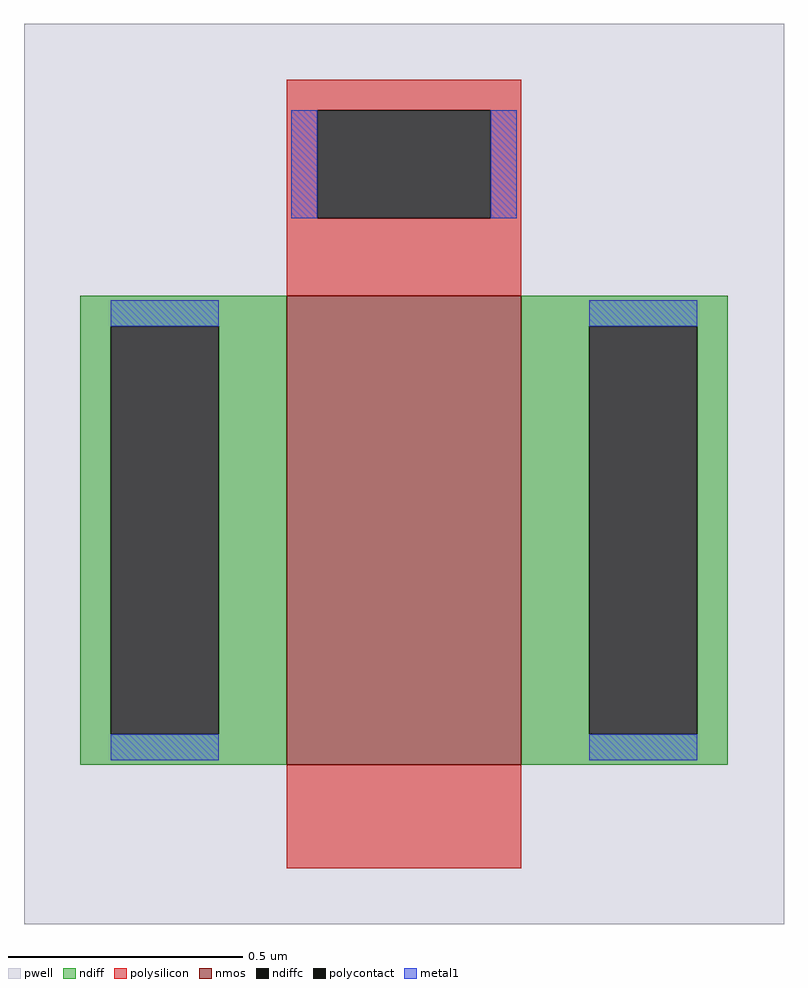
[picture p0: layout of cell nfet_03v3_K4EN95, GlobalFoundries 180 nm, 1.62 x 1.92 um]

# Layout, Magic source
magic
tech gf180mcuD
magscale 1 10
<< pwell >>
rect -162 -192 162 192
<< nmos >>
rect -50 -124 50 76
<< ndiff >>
rect -138 63 -50 76
rect -138 -111 -125 63
rect -79 -111 -50 63
rect -138 -124 -50 -111
rect 50 63 138 76
rect 50 -111 79 63
rect 125 -111 138 63
rect 50 -124 138 -111
<< ndiffc >>
rect -125 -111 -79 63
rect 79 -111 125 63
<< polysilicon >>
rect -50 155 50 168
rect -50 109 -37 155
rect 37 109 50 155
rect -50 76 50 109
rect -50 -168 50 -124
<< polycontact >>
rect -37 109 37 155
<< metal1 >>
rect -48 109 -37 155
rect 37 109 48 155
rect -125 63 -79 74
rect -125 -122 -79 -111
rect 79 63 125 74
rect 79 -122 125 -111
<< properties >>
string gencell nfet_03v3
string library gf180mcu
string parameters w 1 l 0.5 m 1 nf 1 diffcov 100 polycov 100 guard 0 glc 0 grc 0 gtc 0 gbc 0 tbcov 100 rlcov 100 topc 1 botc 0 poverlap 0 doverlap 1 lmin 0.28 wmin 0.22 class mosfet full_metal 0 compatible {nfet_03v3 nfet_05v0 nfet_06v0 nfet_06v0_nvt}
<< end >>
